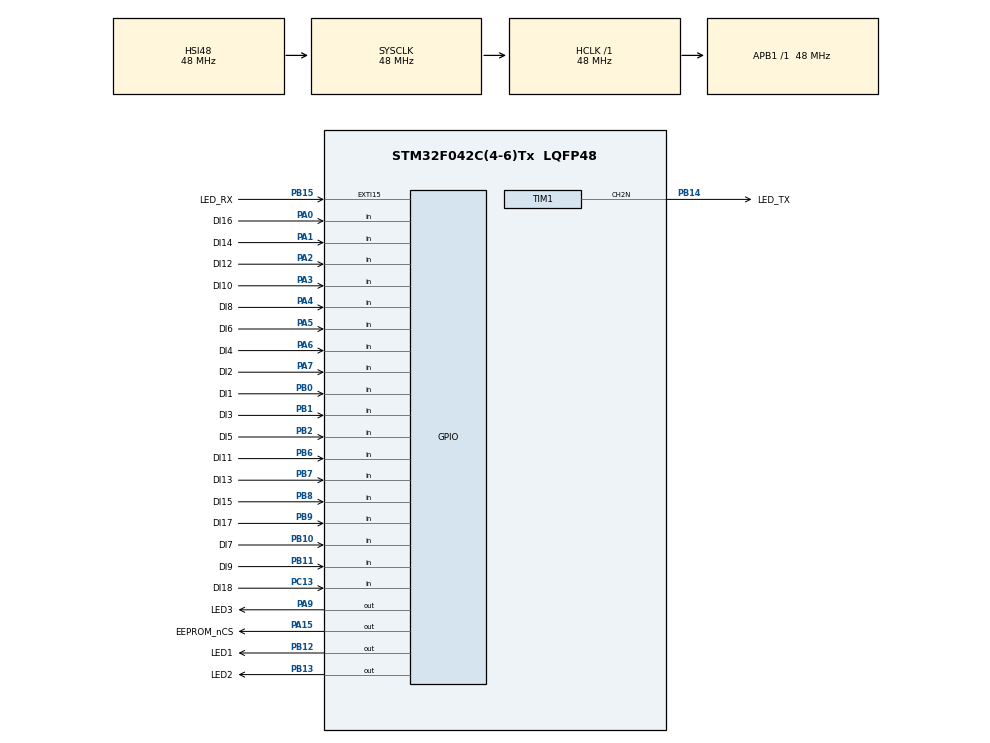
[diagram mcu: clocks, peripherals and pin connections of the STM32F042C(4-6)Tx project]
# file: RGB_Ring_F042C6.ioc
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Dma.Request0=TIM1_CH2
Dma.TIM1_CH2.0.Direction=DMA_MEMORY_TO_PERIPH
Dma.TIM1_CH2.0.Instance=DMA1_Channel3
Dma.TIM1_CH2.0.MemDataAlignment=DMA_MDATAALIGN_HALFWORD
Dma.TIM1_CH2.0.MemInc=DMA_MINC_ENABLE
Dma.TIM1_CH2.0.Mode=DMA_NORMAL
Dma.TIM1_CH2.0.PeriphDataAlignment=DMA_PDATAALIGN_HALFWORD
Dma.TIM1_CH2.0.PeriphInc=DMA_PINC_DISABLE
Dma.TIM1_CH2.0.Priority=DMA_PRIORITY_VERY_HIGH
Mcu.Family=STM32F0
Mcu.Name=STM32F042C(4-6)Tx
Mcu.Package=LQFP48
NVIC.DMA1_Channel2_3_IRQn=true\:0\:0\:false\:false\:true\:false\:true\:true
NVIC.EXTI4_15_IRQn=true\:0\:0\:false\:false\:true\:true\:true\:true
PA0.GPIO_Label=DI16
PA0.GPIO_PuPd=GPIO_PULLUP
PA0.Signal=GPIO_Input
PA1.GPIO_Label=DI14
PA1.GPIO_PuPd=GPIO_PULLUP
PA1.Signal=GPIO_Input
PA13.Mode=Serial_Wire
PA13.Signal=SYS_SWDIO
PA14.Mode=Serial_Wire
PA14.Signal=SYS_SWCLK
PA15.GPIO_Label=EEPROM_nCS
PA15.PinState=GPIO_PIN_SET
PA15.Signal=GPIO_Output
PA2.GPIO_Label=DI12
PA2.GPIO_PuPd=GPIO_PULLUP
PA2.Signal=GPIO_Input
PA3.GPIO_Label=DI10
PA3.GPIO_PuPd=GPIO_PULLUP
PA3.Signal=GPIO_Input
PA4.GPIO_Label=DI8
PA4.GPIO_PuPd=GPIO_PULLUP
PA4.Signal=GPIO_Input
PA5.GPIO_Label=DI6
PA5.GPIO_PuPd=GPIO_PULLUP
PA5.Signal=GPIO_Input
PA6.GPIO_Label=DI4
PA6.GPIO_PuPd=GPIO_PULLUP
PA6.Signal=GPIO_Input
PA7.GPIO_Label=DI2
PA7.GPIO_PuPd=GPIO_PULLUP
PA7.Signal=GPIO_Input
PA9.GPIO_Label=LED3
PA9.Signal=GPIO_Output
PB0.GPIO_Label=DI1
PB0.GPIO_PuPd=GPIO_PULLUP
PB0.Signal=GPIO_Input
PB1.GPIO_Label=DI3
PB1.GPIO_PuPd=GPIO_PULLUP
PB1.Signal=GPIO_Input
PB10.GPIO_Label=DI7
PB10.GPIO_PuPd=GPIO_PULLUP
PB10.Signal=GPIO_Input
PB11.GPIO_Label=DI9
PB11.GPIO_PuPd=GPIO_PULLUP
PB11.Signal=GPIO_Input
PB12.GPIO_Label=LED1
PB12.Signal=GPIO_Output
PB13.GPIO_Label=LED2
PB13.Signal=GPIO_Output
PB14.GPIO_Label=LED_TX
PB14.GPIO_PuPd=GPIO_PULLUP
PB14.Mode=PWM Generation2 CH2N
PB14.Signal=TIM1_CH2N
PB15.GPIO_Label=LED_RX
PB15.GPIO_PuPd=GPIO_PULLUP
PB15.Signal=GPXTI15
PB2.GPIO_Label=DI5
PB2.GPIO_PuPd=GPIO_PULLUP
PB2.Signal=GPIO_Input
PB3.Signal=SPI1_SCK
PB4.Signal=SPI1_MISO
PB5.Signal=SPI1_MOSI
PB6.GPIO_Label=DI11
PB6.GPIO_PuPd=GPIO_PULLUP
PB6.Signal=GPIO_Input
PB7.GPIO_Label=DI13
PB7.GPIO_PuPd=GPIO_PULLUP
PB7.Signal=GPIO_Input
PB8.GPIO_Label=DI15
PB8.GPIO_PuPd=GPIO_PULLUP
PB8.Signal=GPIO_Input
PB9.GPIO_Label=DI17
PB9.GPIO_PuPd=GPIO_PULLUP
PB9.Signal=GPIO_Input
PC13.GPIO_Label=DI18
PC13.GPIO_PuPd=GPIO_PULLUP
PC13.Signal=GPIO_Input
ProjectManager.HeapSize=0x200
ProjectManager.StackSize=0x400
ProjectManager.TargetToolchain=STM32CubeIDE
RCC.AHBFreq_Value=48000000
RCC.APB1Freq_Value=48000000
RCC.APB1TimFreq_Value=48000000
RCC.HCLKFreq_Value=48000000
RCC.I2c1ClockSelection=RCC_I2C1CLKSOURCE_SYSCLK
RCC.SYSCLKFreq_VALUE=48000000
RCC.SYSCLKSource=RCC_SYSCLKSOURCE_HSI48
TIM1.Channel-PWM\ Generation2\ CH2N=TIM_CHANNEL_2
TIM1.Period=60-1
board=custom

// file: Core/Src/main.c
/* USER CODE BEGIN Header */
/**
  ******************************************************************************
  * @file           : main.c
  * @brief          : Main program body
  ******************************************************************************
  * @attention
  *
  * Copyright (c) 2025 STMicroelectronics.
  * All rights reserved.
  *
  * This software is licensed under terms that can be found in the LICENSE file
  * in the root directory of this software component.
  * If no LICENSE file comes with this software, it is provided AS-IS.
  *
  ******************************************************************************
  */
/* USER CODE END Header */
#include "main.h"
#include "dma.h"
#include "tim.h"
#include "gpio.h"

/* USER CODE BEGIN Includes */
#include "platformGlue.h"
#include "ICLED/icled.h"
#include "ICLED/icled_config.h"

pixel_t myPixel = {.R = 0, .B = 0, .G = 0, .F_C = 128};
/* USER CODE END Includes */

void SystemClock_Config(void);

int main(void)
{

  /* MCU Configuration--------------------------------------------------------*/

  /* Reset of all peripherals, Initializes the Flash interface and the Systick. */
  HAL_Init();

  /* Configure the system clock */
  SystemClock_Config();

  /* Initialize all configured peripherals */
  MX_GPIO_Init();
  MX_DMA_Init();
  MX_TIM1_Init();
  /* USER CODE BEGIN 2 */

  myPixel.B = 50;
  icled_set_color(&myPixel, 1);
  icled_write_pixel_buffer_to_pwm();
  HAL_Delay(200);

  /* USER CODE END 2 */

  /* Infinite loop */
  while (1)
  {

    /* USER CODE BEGIN 3 */
	  TOGGLE_HEARTBEAT_LED();
	  DELAY(200);

	  myPixel.B += 10;
	  icled_set_color(&myPixel, 1);
	  icled_write_pixel_buffer_to_pwm();

//	  for(uint_fast8_t r = 0; r<255; r+=10){
//		  myPixel.R+=10;
//		  for(uint_fast8_t g = 0; g<255; g+=10){
//			  myPixel.G+=10;
//			  for(uint_fast8_t b = 0; b<255; b+=10){
//				  myPixel.B+=10;
//				  /* copy one pixel to all LED present */
//				  for(uint_fast8_t i = 0; i < MAX_NO_OF_LEDS; i++){
//					  icled_set_color(&myPixel, i);
//				  }
//				  icled_write_pixel_buffer_to_pwm();
//				  HAL_Delay(200);
//			  }
//		  }
//	  }
  }
  /* USER CODE END 3 */
}

void SystemClock_Config(void)
{
  RCC_OscInitTypeDef RCC_OscInitStruct = {0};
  RCC_ClkInitTypeDef RCC_ClkInitStruct = {0};

  /** Initializes the RCC Oscillators according to the specified parameters
  * in the RCC_OscInitTypeDef structure.
  */
  RCC_OscInitStruct.OscillatorType = RCC_OSCILLATORTYPE_HSI48;
  RCC_OscInitStruct.HSI48State = RCC_HSI48_ON;
  RCC_OscInitStruct.PLL.PLLState = RCC_PLL_NONE;
  if (HAL_RCC_OscConfig(&RCC_OscInitStruct) != HAL_OK)
  {
    Error_Handler();
  }

  /** Initializes the CPU, AHB and APB buses clocks
  */
  RCC_ClkInitStruct.ClockType = RCC_CLOCKTYPE_HCLK|RCC_CLOCKTYPE_SYSCLK
                              |RCC_CLOCKTYPE_PCLK1;
  RCC_ClkInitStruct.SYSCLKSource = RCC_SYSCLKSOURCE_HSI48;
  RCC_ClkInitStruct.AHBCLKDivider = RCC_SYSCLK_DIV1;
  RCC_ClkInitStruct.APB1CLKDivider = RCC_HCLK_DIV1;

  if (HAL_RCC_ClockConfig(&RCC_ClkInitStruct, FLASH_LATENCY_1) != HAL_OK)
  {
    Error_Handler();
  }
}

/* USER CODE BEGIN 4 */
void HAL_TIM_PWM_PulseFinishedCallback(TIM_HandleTypeDef *htim) {
	if (htim->Instance == TIMER_COUNTER_INSTANCE) {
		/* on STM32 C0xx and F0xx the DMA is stopping it self after Pulse is finished
		 * no need for stopping it manually just trigger a new pulse as soon
		 * the RGB-LEd color has changed
		 * but on C0xx calling the STOP_DMA function will lock it and DMA can't
		 * get started again */
		TIMER_COUNTER_STOP_DMA();
		TIMER_COUNTER_SET_DUTY_CYCLE(0);
		__NOP();
	}
}

/* USER CODE END 4 */

void Error_Handler(void)
{
  __disable_irq();
  while (1)
  {
  }
}
